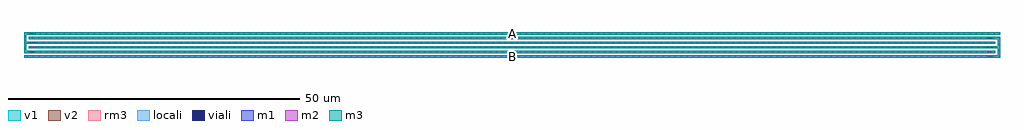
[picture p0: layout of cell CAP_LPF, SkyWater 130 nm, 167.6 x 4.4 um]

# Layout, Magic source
magic
tech sky130B
magscale 1 1
<< m1 >>
rect 60 -20 16820 20
rect 16780 20 16820 60
rect 60 60 16740 100
rect 16780 60 16820 100
rect 60 100 100 140
rect 16780 100 16820 140
rect 60 140 100 180
rect 140 140 16820 180
rect 60 180 100 220
rect 16780 180 16820 220
rect 60 220 16740 260
rect 16780 220 16820 260
rect 60 260 100 300
rect 16780 260 16820 300
rect 60 300 100 340
rect 140 300 16820 340
rect 60 340 100 380
rect 60 380 16820 420
<< m2 >>
rect 60 -20 16820 20
rect 16780 20 16820 60
rect 60 60 16740 100
rect 16780 60 16820 100
rect 60 100 100 140
rect 16780 100 16820 140
rect 60 140 100 180
rect 140 140 16820 180
rect 60 180 100 220
rect 16780 180 16820 220
rect 60 220 16740 260
rect 16780 220 16820 260
rect 60 260 100 300
rect 16780 260 16820 300
rect 60 300 100 340
rect 140 300 16820 340
rect 60 340 100 380
rect 60 380 16820 420
<< locali >>
rect 60 -20 16820 20
rect 16780 20 16820 60
rect 60 60 16740 100
rect 16780 60 16820 100
rect 60 100 100 140
rect 16780 100 16820 140
rect 60 140 100 180
rect 140 140 16820 180
rect 60 180 100 220
rect 16780 180 16820 220
rect 60 220 16740 260
rect 16780 220 16820 260
rect 60 260 100 300
rect 16780 260 16820 300
rect 60 300 100 340
rect 140 300 16820 340
rect 60 340 100 380
rect 60 380 16820 420
<< v1 >>
rect 16580 -14 16700 14
rect 140 66 260 94
rect 16580 146 16700 174
rect 140 226 260 254
rect 16580 306 16700 334
rect 140 386 260 414
<< v2 >>
rect 16580 -16 16700 16
rect 140 64 260 96
rect 16580 144 16700 176
rect 140 224 260 256
rect 16580 304 16700 336
rect 140 384 260 416
<< viali >>
rect 16580 -14 16700 14
rect 140 66 260 94
rect 16580 146 16700 174
rect 140 226 260 254
rect 16580 306 16700 334
rect 140 386 260 414
<< m3 >>
rect 60 -20 16820 20
rect 60 -20 16820 20
rect 16780 20 16820 60
rect 60 60 16620 100
rect 16660 60 16740 100
rect 16780 60 16820 100
rect 60 100 100 140
rect 16780 100 16820 140
rect 60 140 100 180
rect 140 140 180 180
rect 220 140 16820 180
rect 60 180 100 220
rect 16780 180 16820 220
rect 60 220 16740 260
rect 16780 220 16820 260
rect 60 260 100 300
rect 16780 260 16820 300
rect 60 300 100 340
rect 140 300 16820 340
rect 60 340 100 380
rect 60 380 16820 420
rect 60 380 16820 420
<< rm3 >>
rect 16620 60 16660 100
rect 180 140 220 180
<< labels >>
flabel m3 s 60 -20 16820 20 0 FreeSans 400 0 0 0 B
port 2 nsew signal bidirectional
flabel m3 s 60 380 16820 420 0 FreeSans 400 0 0 0 A
port 1 nsew signal bidirectional
<< properties >>
string FIXED_BBOX 0 0 16840 480
<< end >>
